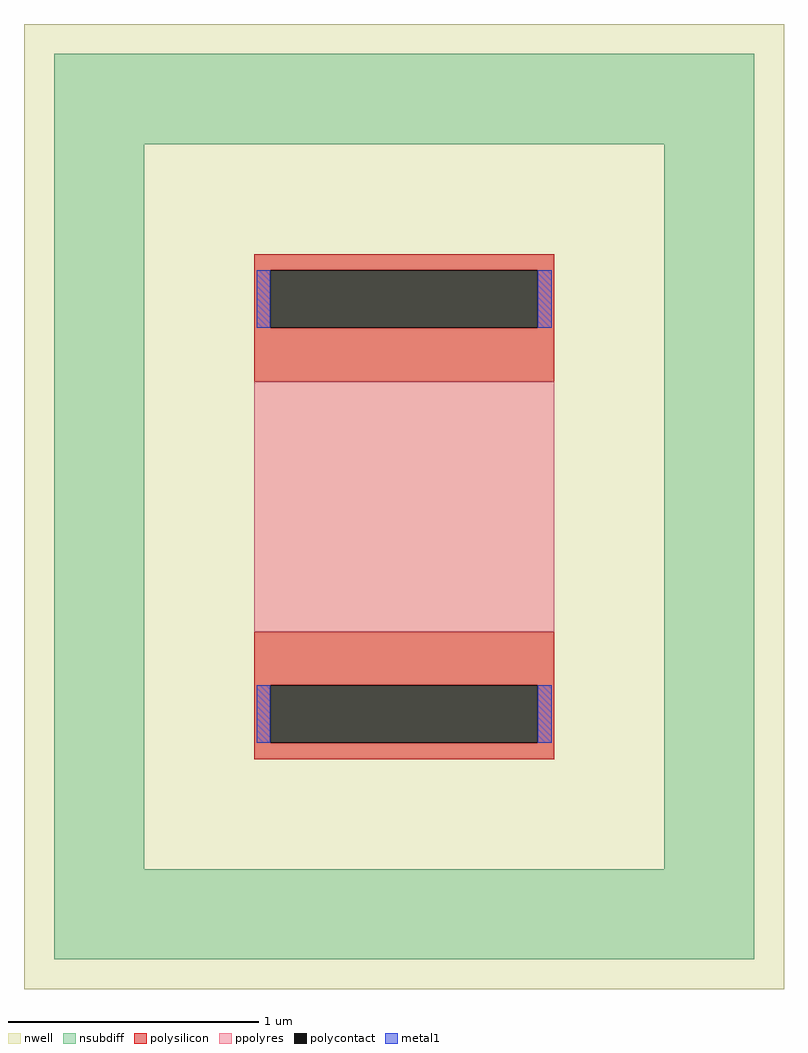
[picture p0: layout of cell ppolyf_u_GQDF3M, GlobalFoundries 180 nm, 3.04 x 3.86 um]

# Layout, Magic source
magic
tech gf180mcuC
magscale 1 10
<< nwell >>
rect -304 -386 304 386
<< nsubdiff >>
rect -280 290 280 362
rect -280 -290 -208 290
rect 208 -290 280 290
rect -280 -362 280 -290
<< polysilicon >>
rect -120 189 120 202
rect -120 143 -107 189
rect 107 143 120 189
rect -120 100 120 143
rect -120 -143 120 -100
rect -120 -189 -107 -143
rect 107 -189 120 -143
rect -120 -202 120 -189
<< polycontact >>
rect -107 143 107 189
rect -107 -189 107 -143
<< ppolyres >>
rect -120 -100 120 100
<< metal1 >>
rect -118 143 -107 189
rect 107 143 118 189
rect -118 -189 -107 -143
rect 107 -189 118 -143
<< properties >>
string FIXED_BBOX -244 -326 244 326
string gencell ppolyf_u
string library gf180mcu
string parameters w 1.2 l 1.0 m 1 nx 1 wmin 0.80 lmin 1.00 rho 315 val 278.761 dummy 0 dw 0.07 term 0.0 sterm 0.0 caplen 0.4 snake 0 glc 0 grc 0 gtc 0 gbc 0 roverlap 0 endcov 100 full_metal 0
<< end >>
